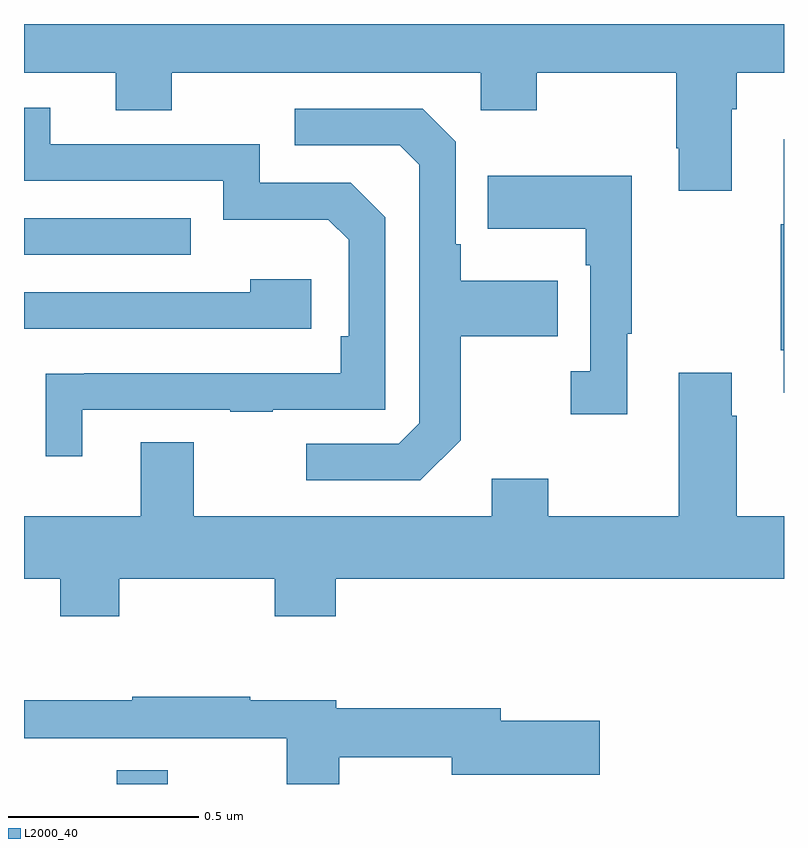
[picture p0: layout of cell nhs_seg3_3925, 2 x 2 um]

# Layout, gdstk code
import gdstk
lib = gdstk.Library(unit=1e-6, precision=1e-09)
def R(c, l, rs):  # rectangles x0, y0, x1, y1
    for r in rs: c.add(gdstk.rectangle(r[:2], r[2:], *l))
def P(c, l, *ps):  # polygons
    for p in ps: c.add(gdstk.Polygon(p, *l))
L2000_40 = (2000, 40)

nhs_seg3_3925 = lib.new_cell('nhs_seg3_3925')
R(nhs_seg3_3925, L2000_40, [(160.244,676.4,160.378,676.436), (160,677.793,160.439,677.889)])
P(nhs_seg3_3925, L2000_40, [(160,678.272),(160.241,678.272),(160.241,678.173),(160.389,678.173),(160.389,678.272),(161.202,678.272),(161.202,678.173),(161.349,678.173),(161.349,678.272),(161.716,678.272),(161.716,678.073),(161.723,678.073),(161.723,677.961),(161.863,677.961),(161.863,678.176),(161.876,678.176),(161.876,678.272),(162,678.272),(162,678.4),(160,678.4)],
  [(160.153,677.385),(160.543,677.385),(160.543,677.38),(160.655,677.38),(160.655,677.385),(160.95,677.385),(160.95,677.892),(160.86,677.982),(160.62,677.982),(160.62,678.084),(160.069,678.084),(160.069,678.18),(160,678.18),(160,677.988),(160.524,677.988),(160.524,677.885),(160.801,677.885),(160.854,677.832),(160.854,677.578),(160.834,677.578),(160.834,677.481),(160.159,677.481),(160.159,677.48),(160.057,677.48),(160.057,677.262),(160.153,677.262)],
  [(161.149,677.305),(161.149,677.578),(161.405,677.578),(161.405,677.725),(161.149,677.725),(161.149,677.821),(161.136,677.821),(161.136,678.09),(161.049,678.177),(160.713,678.177),(160.713,678.081),(160.989,678.081),(161.04,678.03),(161.04,677.349),(160.986,677.295),(160.743,677.295),(160.743,677.199),(161.043,677.199)],
  [(162,678.097),(161.999,678.097),(161.999,677.873),(161.992,677.873),(161.992,677.542),(161.999,677.542),(161.999,677.43),(162,677.43)],
  [(161.587,677.585),(161.599,677.585),(161.599,678.001),(161.221,678.001),(161.221,677.861),(161.478,677.861),(161.478,677.765),(161.49,677.765),(161.49,677.486),(161.439,677.486),(161.439,677.373),(161.587,677.373)],
  [(160.756,677.728),(160.595,677.728),(160.595,677.694),(160,677.694),(160,677.598),(160.756,677.598)],
  [(160.251,676.94),(160.66,676.94),(160.66,676.841),(160.82,676.841),(160.82,676.94),(162,676.94),(162,677.104),(161.876,677.104),(161.876,677.369),(161.863,677.369),(161.863,677.482),(161.723,677.482),(161.723,677.104),(161.379,677.104),(161.379,677.203),(161.231,677.203),(161.231,677.104),(160.447,677.104),(160.447,677.299),(160.307,677.299),(160.307,677.104),(160,677.104),(160,676.94),(160.096,676.94),(160.096,676.841),(160.251,676.841)],
  [(160.83,676.471),(161.126,676.471),(161.126,676.424),(161.515,676.424),(161.515,676.566),(161.254,676.566),(161.254,676.6),(160.822,676.6),(160.822,676.62),(160.595,676.62),(160.595,676.63),(160.285,676.63),(160.285,676.62),(160,676.62),(160,676.52),(160.148,676.52),(160.148,676.521),(160.482,676.521),(160.482,676.52),(160.692,676.52),(160.692,676.4),(160.83,676.4)])

lib.write_gds('nhs_seg3_3925.gds')
